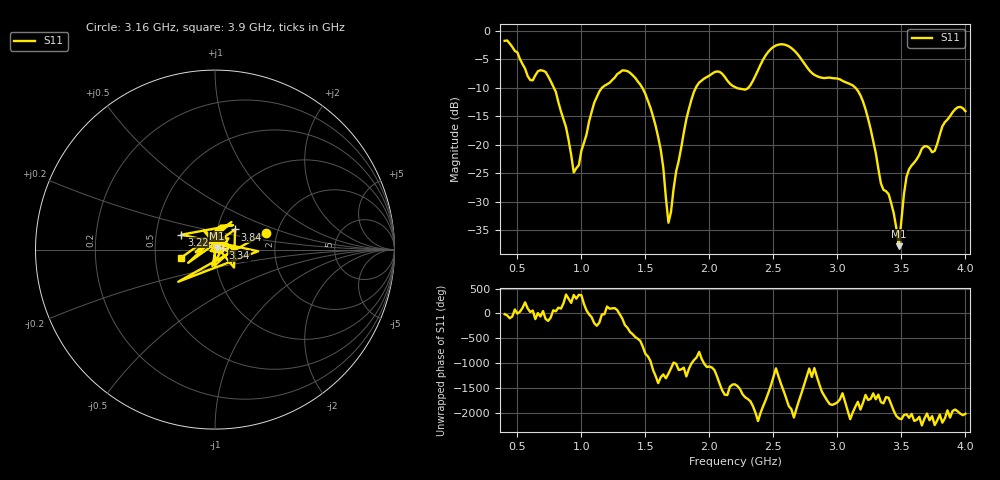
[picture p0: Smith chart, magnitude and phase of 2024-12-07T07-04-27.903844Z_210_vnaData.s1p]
!Created with skrf (http://scikit-rf.org).
# Hz S RI R 50.0
!freq ReS11 ImS11
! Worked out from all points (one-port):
!   181 points, 400 MHz to 4 GHz, reference 50 ohm
!   lowest |S11| = -37.8 dB at 3.48 GHz (marker M1), VSWR 1.03, Z = 50.9 + j0.911 ohm
!   |S11| at or under -10 dB: 785.9 MHz to 1.159 GHz (373.3 MHz wide, 38.4 % of centre); 1.477 GHz to 1.894 GHz (417.2 MHz wide, 24.8 % of centre); 3.142 GHz to end of sweep (the widest 3 of 4)
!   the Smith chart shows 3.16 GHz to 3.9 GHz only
!   S11 on the Smith chart (normalised r, x): 3.16 GHz: 1.74, +0.36; 3.22 GHz: 0.68, +0.12; 3.34 GHz: 1.09, +0.02; 3.84 GHz: 1.22, +0.28; 3.9 GHz: 0.68, -0.06
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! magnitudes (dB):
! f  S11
! 400 MHz  -1.7
! 600 MHz  -8.6
! 720 MHz  -7.2
! 860 MHz  -15.5
! 940 MHz  -24.8
! 1.12 GHz  -11.6
! 1.3 GHz  -7.3
! 1.54 GHz  -13.5
! 1.62 GHz  -20.9
! 1.68 GHz  -33.6
! 1.76 GHz  -22.8
! 1.92 GHz  -9.1
! 2.2 GHz  -9.8
! 2.3 GHz  -10.1
! 2.5 GHz  -2.8
! 2.66 GHz  -3.4
! 3.1 GHz  -9.3
! 3.16 GHz  -10.5
! 3.22 GHz  -13.8
! 3.34 GHz  -26.7
! 3.42 GHz  -30.2
! 3.48 GHz  -37.8
! 3.52 GHz  -28.6
! 3.56 GHz  -24.3
! 3.76 GHz  -21.1
! 3.84 GHz  -16.0
! 3.9 GHz  -14.3
! 4 GHz  -14.1
